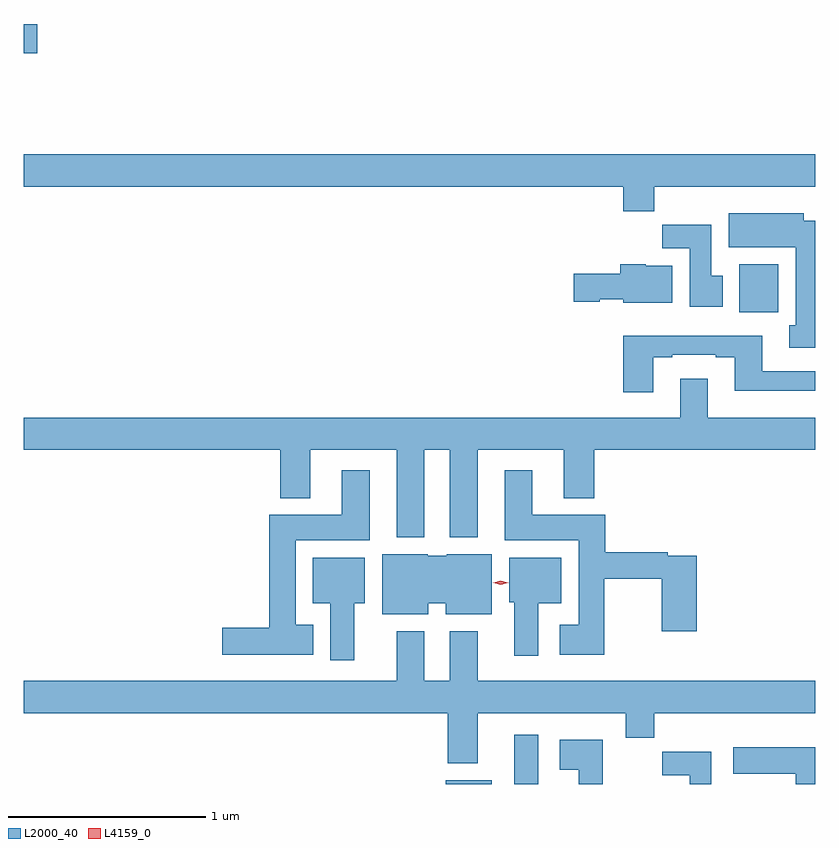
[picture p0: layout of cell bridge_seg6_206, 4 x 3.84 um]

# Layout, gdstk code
import gdstk
lib = gdstk.Library(unit=1e-6, precision=1e-09)
def R(c, l, rs):  # rectangles x0, y0, x1, y1
    for r in rs: c.add(gdstk.rectangle(r[:2], r[2:], *l))
def P(c, l, *ps):  # polygons
    for p in ps: c.add(gdstk.Polygon(p, *l))
L2000_40 = (2000, 40)
L4159_0 = (4159, 0)

bridge_seg6_206 = lib.new_cell('bridge_seg6_206')
R(bridge_seg6_206, L2000_40, [(135.83,970.955,136.063,970.975), (136.175,970.955,136.297,971.203), (137.315,973.34,137.512,973.582), (133.697,974.651,133.765,974.798)])
P(bridge_seg6_206, L2000_40, [(136.883,973.976),(137.697,973.976),(137.697,974.14),(133.697,974.14),(133.697,973.976),(136.727,973.976),(136.727,973.852),(136.883,973.852)],
  [(137.697,973.804),(137.641,973.804),(137.641,973.84),(137.261,973.84),(137.261,973.67),(137.6,973.67),(137.6,973.274),(137.567,973.274),(137.567,973.161),(137.697,973.161)],
  [(137.23,973.524),(137.173,973.524),(137.173,973.782),(136.924,973.782),(136.924,973.664),(137.063,973.664),(137.063,973.368),(137.23,973.368)],
  [(136.975,973.576),(136.842,973.576),(136.842,973.582),(136.712,973.582),(136.712,973.536),(136.476,973.536),(136.476,973.394),(136.608,973.394),(136.608,973.406),(136.728,973.406),(136.728,973.388),(136.975,973.388)],
  [(136.879,973.113),(136.975,973.113),(136.975,973.125),(137.195,973.125),(137.195,973.113),(137.291,973.113),(137.291,972.944),(137.697,972.944),(137.697,973.041),(137.431,973.041),(137.431,973.222),(136.727,973.222),(136.727,972.936),(136.879,972.936)],
  [(135.721,972.644),(135.851,972.644),(135.851,972.203),(135.991,972.203),(135.991,972.644),(136.427,972.644),(136.427,972.401),(136.58,972.401),(136.58,972.644),(137.697,972.644),(137.697,972.808),(137.155,972.808),(137.155,973.003),(137.015,973.003),(137.015,972.808),(133.697,972.808),(133.697,972.644),(134.993,972.644),(134.993,972.401),(135.145,972.401),(135.145,972.644),(135.581,972.644),(135.581,972.203),(135.721,972.203)],
  [(136.632,971.992),(136.921,971.992),(136.921,971.727),(137.099,971.727),(137.099,972.108),(136.952,972.108),(136.952,972.128),(136.637,972.128),(136.637,972.316),(136.267,972.316),(136.267,972.541),(136.127,972.541),(136.127,972.188),(136.502,972.188),(136.502,971.761),(136.407,971.761),(136.407,971.609),(136.632,971.609)],
  [(135.16,971.761),(135.07,971.761),(135.07,972.188),(135.445,972.188),(135.445,972.541),(135.305,972.541),(135.305,972.316),(134.936,972.316),(134.936,971.744),(134.7,971.744),(134.7,971.609),(135.16,971.609)],
  [(135.742,971.87),(135.83,971.87),(135.83,971.813),(136.063,971.813),(136.063,972.118),(135.834,972.118),(135.834,972.109),(135.738,972.109),(135.738,972.118),(135.509,972.118),(135.509,971.813),(135.742,971.813)],
  [(135.367,971.87),(135.421,971.87),(135.421,972.1),(135.158,972.1),(135.158,971.87),(135.245,971.87),(135.245,971.58),(135.367,971.58)],
  [(136.297,971.87),(136.414,971.87),(136.414,972.1),(136.151,972.1),(136.151,971.874),(136.175,971.874),(136.175,971.604),(136.297,971.604)],
  [(135.991,971.312),(136.739,971.312),(136.739,971.188),(136.883,971.188),(136.883,971.312),(137.697,971.312),(137.697,971.476),(135.991,971.476),(135.991,971.728),(135.851,971.728),(135.851,971.476),(135.721,971.476),(135.721,971.728),(135.581,971.728),(135.581,971.476),(133.697,971.476),(133.697,971.312),(135.839,971.312),(135.839,971.06),(135.991,971.06)],
  [(136.624,971.179),(136.407,971.179),(136.407,971.027),(136.502,971.027),(136.502,970.955),(136.624,970.955)],
  [(137.697,971.14),(137.283,971.14),(137.283,971.006),(137.6,971.006),(137.6,970.955),(137.697,970.955)],
  [(137.173,971.119),(136.924,971.119),(136.924,971),(137.063,971),(137.063,970.955),(137.173,970.955)])
P(bridge_seg6_206, L4159_0, [(136.107,971.962),(136.069,971.972),(136.069,971.972),(136.069,971.973),(136.107,971.982),(136.145,971.973),(136.146,971.972),(136.145,971.972)])

lib.write_gds('bridge_seg6_206.gds')
